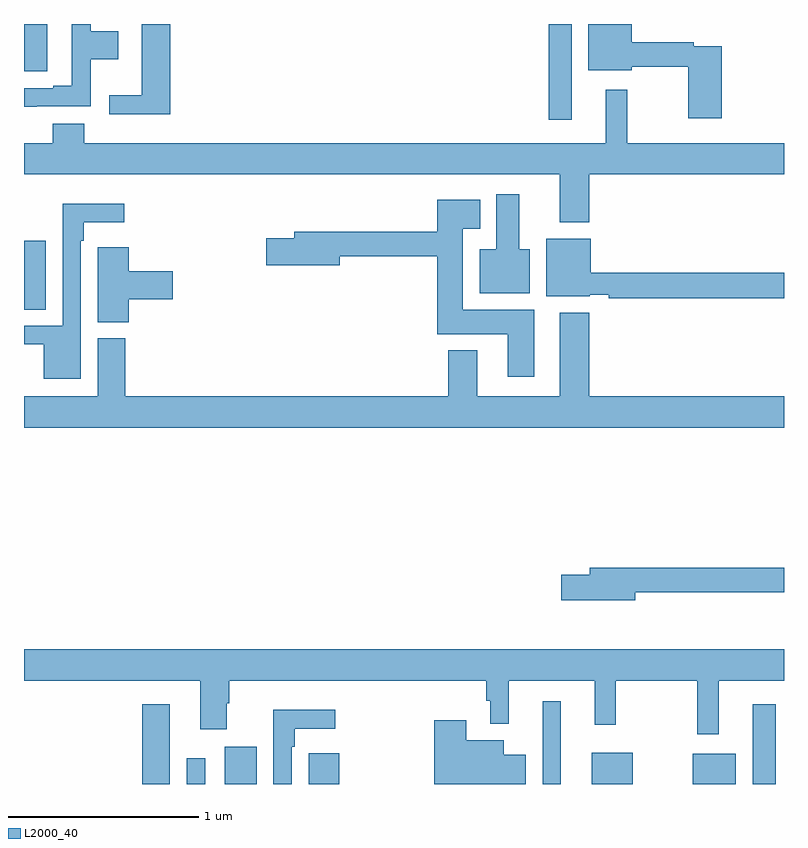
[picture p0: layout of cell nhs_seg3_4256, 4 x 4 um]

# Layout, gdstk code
import gdstk
lib = gdstk.Library(unit=1e-6, precision=1e-09)
def R(c, l, rs):  # rectangles x0, y0, x1, y1
    for r in rs: c.add(gdstk.rectangle(r[:2], r[2:], *l))
def P(c, l, *ps):  # polygons
    for p in ps: c.add(gdstk.Polygon(p, *l))
L2000_40 = (2000, 40)

nhs_seg3_4256 = lib.new_cell('nhs_seg3_4256')
R(nhs_seg3_4256, L2000_40, [(337.622,672.4,337.768,672.82), (337.857,672.4,337.953,672.535), (338.057,672.4,338.224,672.595), (339.729,672.4,339.826,672.835), (339.989,672.4,340.204,672.565), (340.52,672.4,340.747,672.559), (340.835,672.4,340.957,672.82), (337,674.896,337.114,675.259), (339.762,675.897,339.883,676.4), (337,676.151,337.123,676.4)])
P(nhs_seg3_4256, L2000_40, [(340.673,676.284),(340.526,676.284),(340.526,676.304),(340.198,676.304),(340.198,676.4),(339.971,676.4),(339.971,676.157),(340.198,676.157),(340.198,676.176),(340.495,676.176),(340.495,675.903),(340.673,675.903)],
  [(337.769,676.4),(337.619,676.4),(337.619,676.025),(337.449,676.025),(337.449,675.926),(337.769,675.926)],
  [(337.067,675.966),(337.352,675.966),(337.352,676.214),(337.495,676.214),(337.495,676.362),(337.352,676.362),(337.352,676.4),(337.251,676.4),(337.251,676.075),(337.154,676.075),(337.154,676.062),(337,676.062),(337,675.965),(337.067,675.965)],
  [(339.974,675.608),(341,675.608),(341,675.772),(340.175,675.772),(340.175,676.054),(340.061,676.054),(340.061,675.772),(337.316,675.772),(337.316,675.874),(337.151,675.874),(337.151,675.772),(337,675.772),(337,675.608),(339.821,675.608),(339.821,675.356),(339.974,675.356)],
  [(339.661,675.214),(339.607,675.214),(339.607,675.505),(339.485,675.505),(339.485,675.214),(339.398,675.214),(339.398,674.984),(339.661,674.984)],
  [(339.685,674.896),(339.31,674.896),(339.31,675.323),(339.4,675.323),(339.4,675.475),(339.176,675.475),(339.176,675.307),(338.423,675.307),(338.423,675.273),(338.274,675.273),(338.274,675.131),(338.662,675.131),(338.662,675.178),(339.176,675.178),(339.176,674.768),(339.545,674.768),(339.545,674.544),(339.685,674.544)],
  [(337.299,675.26),(337.315,675.26),(337.315,675.356),(337.528,675.356),(337.528,675.454),(337.203,675.454),(337.203,674.811),(337,674.811),(337,674.715),(337.103,674.715),(337.103,674.534),(337.299,674.534)],
  [(341,675.092),(339.982,675.092),(339.982,675.271),(339.749,675.271),(339.749,674.966),(339.978,674.966),(339.978,674.976),(340.078,674.976),(340.078,674.956),(341,674.956)],
  [(337.55,674.951),(337.783,674.951),(337.783,675.098),(337.55,675.098),(337.55,675.226),(337.389,675.226),(337.389,675.113),(337.388,675.113),(337.388,674.83),(337.55,674.83)],
  [(337.388,674.745),(337.388,674.44),(337,674.44),(337,674.276),(341,674.276),(341,674.44),(339.974,674.44),(339.974,674.881),(339.821,674.881),(339.821,674.44),(339.385,674.44),(339.385,674.683),(339.233,674.683),(339.233,674.44),(337.532,674.44),(337.532,674.745)],
  [(340.216,673.41),(341,673.41),(341,673.538),(339.977,673.538),(339.977,673.502),(339.828,673.502),(339.828,673.367),(340.216,673.367)],
  [(340.657,672.944),(341,672.944),(341,673.108),(337,673.108),(337,672.944),(337.928,672.944),(337.928,672.687),(338.068,672.687),(338.068,672.824),(338.081,672.824),(338.081,672.944),(339.433,672.944),(339.433,672.837),(339.453,672.837),(339.453,672.716),(339.551,672.716),(339.551,672.944),(340.004,672.944),(340.004,672.711),(340.114,672.711),(340.114,672.944),(340.543,672.944),(340.543,672.663),(340.657,672.663)],
  [(338.409,672.596),(338.425,672.596),(338.425,672.692),(338.638,672.692),(338.638,672.79),(338.313,672.79),(338.313,672.4),(338.409,672.4)],
  [(339.64,672.553),(339.526,672.553),(339.526,672.631),(339.328,672.631),(339.328,672.736),(339.158,672.736),(339.158,672.4),(339.64,672.4)],
  [(338.66,672.562),(338.499,672.562),(338.499,672.449),(338.498,672.449),(338.498,672.4),(338.66,672.4)])

lib.write_gds('nhs_seg3_4256.gds')
